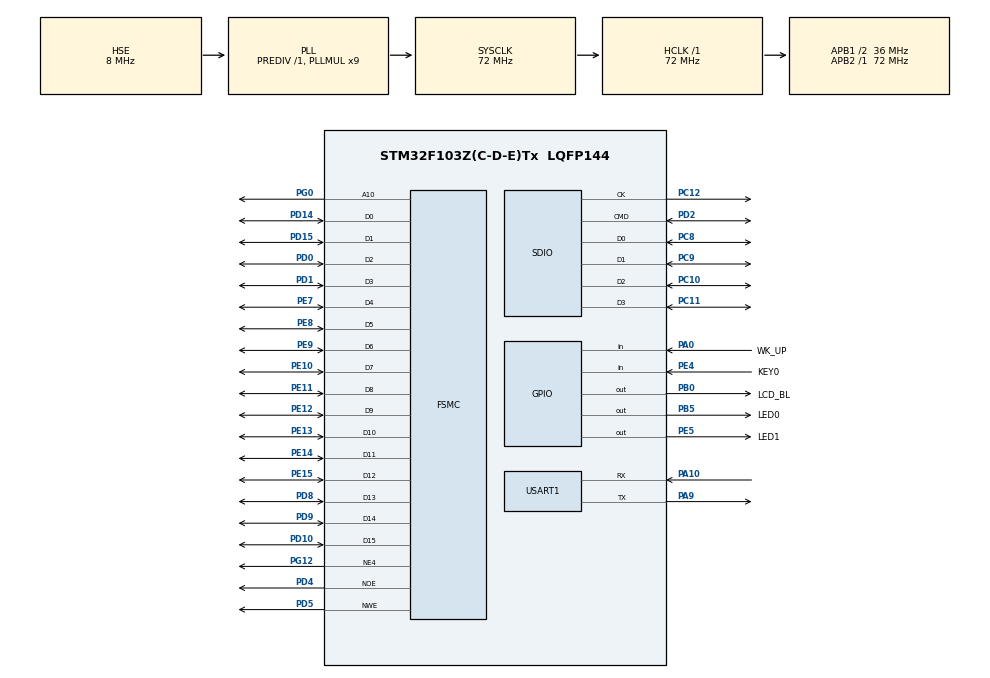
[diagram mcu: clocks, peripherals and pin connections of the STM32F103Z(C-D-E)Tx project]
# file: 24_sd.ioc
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FSMC.AddressSetupTime1=0
FSMC.DataSetupTime1=15
FSMC.ExtendedAddressSetupTime1=0
FSMC.ExtendedDataSetupTime1=1
FSMC.ExtendedMode1=FSMC_EXTENDED_MODE_ENABLE
Mcu.Family=STM32F1
Mcu.Name=STM32F103Z(C-D-E)Tx
Mcu.Package=LQFP144
NVIC.PriorityGroup=NVIC_PRIORITYGROUP_2
NVIC.USART1_IRQn=true\:2\:2\:true\:false\:true\:true\:true\:true
OSC_IN.Mode=HSE-External-Oscillator
OSC_IN.Signal=RCC_OSC_IN
OSC_OUT.Mode=HSE-External-Oscillator
OSC_OUT.Signal=RCC_OSC_OUT
PA0-WKUP.GPIO_Label=WK_UP
PA0-WKUP.GPIO_PuPd=GPIO_PULLDOWN
PA0-WKUP.Signal=GPIO_Input
PA10.Mode=Asynchronous
PA10.Signal=USART1_RX
PA13.Mode=Serial_Wire
PA13.Signal=SYS_JTMS-SWDIO
PA14.Mode=Serial_Wire
PA14.Signal=SYS_JTCK-SWCLK
PA9.Mode=Asynchronous
PA9.Signal=USART1_TX
PB0.GPIO_Label=LCD_BL
PB0.GPIO_PuPd=GPIO_PULLUP
PB0.GPIO_Speed=GPIO_SPEED_FREQ_HIGH
PB0.PinState=GPIO_PIN_SET
PB0.Signal=GPIO_Output
PB5.GPIO_Label=LED0
PB5.GPIO_PuPd=GPIO_PULLDOWN
PB5.GPIO_Speed=GPIO_SPEED_FREQ_HIGH
PB5.PinState=GPIO_PIN_SET
PB5.Signal=GPIO_Output
PC10.Mode=SD_4_bits_Wide_bus
PC10.Signal=SDIO_D2
PC11.Mode=SD_4_bits_Wide_bus
PC11.Signal=SDIO_D3
PC12.Mode=SD_4_bits_Wide_bus
PC12.Signal=SDIO_CK
PC14-OSC32_IN.Mode=LSE-External-Oscillator
PC14-OSC32_IN.Signal=RCC_OSC32_IN
PC15-OSC32_OUT.Mode=LSE-External-Oscillator
PC15-OSC32_OUT.Signal=RCC_OSC32_OUT
PC8.Mode=SD_4_bits_Wide_bus
PC8.Signal=SDIO_D0
PC9.Mode=SD_4_bits_Wide_bus
PC9.Signal=SDIO_D1
PD0.Signal=FSMC_D2_DA2
PD1.Signal=FSMC_D3_DA3
PD10.Signal=FSMC_D15_DA15
PD14.Signal=FSMC_D0_DA0
PD15.Signal=FSMC_D1_DA1
PD2.Mode=SD_4_bits_Wide_bus
PD2.Signal=SDIO_CMD
PD4.Signal=FSMC_NOE
PD5.Signal=FSMC_NWE
PD8.Signal=FSMC_D13_DA13
PD9.Signal=FSMC_D14_DA14
PE10.Signal=FSMC_D7_DA7
PE11.Signal=FSMC_D8_DA8
PE12.Signal=FSMC_D9_DA9
PE13.Signal=FSMC_D10_DA10
PE14.Signal=FSMC_D11_DA11
PE15.Signal=FSMC_D12_DA12
PE4.GPIO_Label=KEY0
PE4.GPIO_PuPd=GPIO_PULLDOWN
PE4.Signal=GPIO_Input
PE5.GPIO_Label=LED1
PE5.GPIO_PuPd=GPIO_PULLDOWN
PE5.GPIO_Speed=GPIO_SPEED_FREQ_HIGH
PE5.PinState=GPIO_PIN_SET
PE5.Signal=GPIO_Output
PE7.Signal=FSMC_D4_DA4
PE8.Signal=FSMC_D5_DA5
PE9.Signal=FSMC_D6_DA6
PG0.Signal=FSMC_A10
PG12.Mode=NorPsramChipSelect4_1
PG12.Signal=FSMC_NE4
ProjectManager.HeapSize=0x200
ProjectManager.StackSize=0x400
ProjectManager.TargetToolchain=STM32CubeIDE
RCC.AHBFreq_Value=72000000
RCC.APB1CLKDivider=RCC_HCLK_DIV2
RCC.APB1Freq_Value=36000000
RCC.APB1TimFreq_Value=72000000
RCC.APB2Freq_Value=72000000
RCC.APB2TimFreq_Value=72000000
RCC.HCLKFreq_Value=72000000
RCC.PLLMUL=RCC_PLL_MUL9
RCC.PLLSourceVirtual=RCC_PLLSOURCE_HSE
RCC.SYSCLKFreq_VALUE=72000000
RCC.SYSCLKSource=RCC_SYSCLKSOURCE_PLLCLK
RCC.USBFreq_Value=72000000
SDIO.ClockDiv=0x06
SDIO.HardwareFlowControl=SDIO_HARDWARE_FLOW_CONTROL_ENABLE
SH.FSMC_A10.0=FSMC_A10,A10_1
SH.FSMC_D0_DA0.0=FSMC_D0,16b-d1
SH.FSMC_D10_DA10.0=FSMC_D10,16b-d1
SH.FSMC_D11_DA11.0=FSMC_D11,16b-d1
SH.FSMC_D12_DA12.0=FSMC_D12,16b-d1
SH.FSMC_D13_DA13.0=FSMC_D13,16b-d1
SH.FSMC_D14_DA14.0=FSMC_D14,16b-d1
SH.FSMC_D15_DA15.0=FSMC_D15,16b-d1
SH.FSMC_D1_DA1.0=FSMC_D1,16b-d1
SH.FSMC_D2_DA2.0=FSMC_D2,16b-d1
SH.FSMC_D3_DA3.0=FSMC_D3,16b-d1
SH.FSMC_D4_DA4.0=FSMC_D4,16b-d1
SH.FSMC_D5_DA5.0=FSMC_D5,16b-d1
SH.FSMC_D6_DA6.0=FSMC_D6,16b-d1
SH.FSMC_D7_DA7.0=FSMC_D7,16b-d1
SH.FSMC_D8_DA8.0=FSMC_D8,16b-d1
SH.FSMC_D9_DA9.0=FSMC_D9,16b-d1
SH.FSMC_NOE.0=FSMC_NOE,Lcd1
SH.FSMC_NWE.0=FSMC_NWE,Lcd1
USART1.VirtualMode=VM_ASYNC
board=custom

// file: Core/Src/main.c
/* USER CODE BEGIN Header */
/**
 ****************************************************************************************************
 * @file        main.c
 * @author      ALIENTEK
 * @brief       sd code
 * @license     Copyright (C) 2012-2024, ALIENTEK
 ****************************************************************************************************
 * @attention
 *
 * platform     : ALIENTEK M144-STM32F103 board
 * website      : www.alientek.com
 * forum        : www.openedv.com/forum.php
 *
 * change logs  :
 * version      data         notes
 * V1.0         20240410     the first version
 *
 ****************************************************************************************************
 */
/* USER CODE END Header */
#include "main.h"
#include "sdio.h"
#include "usart.h"
#include "gpio.h"
#include "fsmc.h"

/* USER CODE BEGIN Includes */
#include "../../BSP/LED/led.h"
#include "../../BSP/KEY/key.h"
#include "../../BSP/LCD/lcd.h"
#include "../../ATK_Middlewares/MALLOC/malloc.h"
/* USER CODE END Includes */

/* USER CODE BEGIN PTD */

extern uint8_t g_sd_error;
extern HAL_SD_CardInfoTypeDef g_sd_card_info;

/* USER CODE END PTD */

/* USER CODE BEGIN PD */

/**
 * @brief   displays SD card information
 * @param   None
 * @retval  None
 */
static void show_sd_info(void)
{
    HAL_SD_CardCIDTypeDef sd_card_cid = {0};

    HAL_SD_GetCardCID(&hsd, &sd_card_cid);

    printf("Card Type: %s\r\n", (g_sd_card_info.CardType == CARD_SDSC) ? ((g_sd_card_info.CardVersion == CARD_V1_X) ? ("SDSC V1") :
                                                                         ((g_sd_card_info.CardVersion == CARD_V1_X) ? ("SDSC V2") :
                                                                         (""))) :
                                ((g_sd_card_info.CardType == CARD_SDHC_SDXC) ? ("SDHC") :
                                ((g_sd_card_info.CardType == CARD_SECURED) ? ("SECURE") :
                                (""))));
    printf("Card ManufacturerID:%d\r\n", sd_card_cid.ManufacturerID);
    printf("Card RCA:%d\r\n", g_sd_card_info.RelCardAdd);
    printf("LogBlockNbr:%d \r\n", g_sd_card_info.LogBlockNbr);
    printf("LogBlockSize:%d \r\n", g_sd_card_info.LogBlockSize);
    printf("Card Capacity:%d MB\r\n", (uint32_t)(((uint64_t)g_sd_card_info.LogBlockNbr * g_sd_card_info.LogBlockSize) >> 20));
    printf("Card BlockSize:%d\r\n\r\n", g_sd_card_info.BlockSize);

    lcd_show_string(30, 146, 200, 16, 16, "SD Card Size:     MB", BLUE);
    lcd_show_num(30 + 13 * 8, 146, (uint32_t)(((uint64_t)g_sd_card_info.LogBlockNbr * g_sd_card_info.LogBlockSize) >> 20), 5, 16, BLUE);
}

static void sd_read_test(void)
{
    uint8_t *buf;
    uint16_t index;

    buf = (uint8_t *)mymalloc(SRAMIN, g_sd_card_info.BlockSize);
    if (buf == NULL)
    {
        return;
    }

    /* Read and print the data of block 0 of the SD card */
    if (sd_read_disk(buf, 0, 1) == 0)
    {
        lcd_show_string(30, 170, 200, 16, 16, "USART1 Sending Data...", BLUE);
        printf("Block 0 Data:\r\n");
        for (index=0; index<g_sd_card_info.BlockSize; index++)
        {
            printf("%02X ", buf[index]);
        }
        printf("\r\nData End\r\n");
        lcd_show_string(30, 170, 200, 16, 16, "USART1 Send Data Over!", BLUE);
    }
    else
    {
        printf("SD read Failure!\r\n");
        lcd_show_string(30, 170, 200, 16, 16, "SD read Failure!      ", BLUE);
    }

    myfree(SRAMIN, buf);
}

/* USER CODE END PD */

void SystemClock_Config(void);

int main(void)
{
  /* USER CODE BEGIN 1 */
  uint8_t t = 0;
  uint8_t key;
  /* USER CODE END 1 */

  /* MCU Configuration--------------------------------------------------------*/

  /* Reset of all peripherals, Initializes the Flash interface and the Systick. */
  HAL_Init();

  /* Configure the system clock */
  SystemClock_Config();

  /* Initialize all configured peripherals */
  MX_GPIO_Init();
  MX_USART1_UART_Init();
  MX_FSMC_Init();
  MX_SDIO_SD_Init();
  /* USER CODE BEGIN 2 */

  lcd_init();
  my_mem_init(SRAMIN);                /* Initialize the internal SRAM memory pool */
  lcd_show_string(30, 50, 200, 16, 16, "STM32", RED);
  lcd_show_string(30, 70, 200, 16, 16, "SD TEST", RED);
  lcd_show_string(30, 90, 200, 16, 16, "ATOM@ALIENTEK", RED);

  lcd_show_string(30, 110, 200, 16, 16, "WKUP: Read Block 0", RED);

  while (sd_init() != 0)
  {
      lcd_show_string(30, 130, 200, 16, 16, "SD Card Error!", RED);
      delay_ms(500);
      lcd_show_string(30, 130, 200, 16, 16, "Please Check! ", RED);
      delay_ms(500);
      LED0_TOGGLE();
  }

  lcd_show_string(30, 130, 200, 16, 16, "SD Card OK    ", BLUE);

  show_sd_info();

  /* USER CODE END 2 */

  /* Infinite loop */
  while (1)
  {

	  key = key_scan(0);
	  if (key == WKUP_PRES)
	  {
	      /* SD card read test */
	      sd_read_test();
	  }

	  if (++t == 20)
	  {
	      t = 0;
	      LED0_TOGGLE();/* flashing LED0 indicates that the system is running */
	  }

	HAL_Delay(10);       /* delay 10ms */

  }
}

void SystemClock_Config(void)
{
  RCC_OscInitTypeDef RCC_OscInitStruct = {0};
  RCC_ClkInitTypeDef RCC_ClkInitStruct = {0};

  /** Initializes the RCC Oscillators according to the specified parameters
  * in the RCC_OscInitTypeDef structure.
  */
  RCC_OscInitStruct.OscillatorType = RCC_OSCILLATORTYPE_HSE;
  RCC_OscInitStruct.HSEState = RCC_HSE_ON;
  RCC_OscInitStruct.HSEPredivValue = RCC_HSE_PREDIV_DIV1;
  RCC_OscInitStruct.HSIState = RCC_HSI_ON;
  RCC_OscInitStruct.PLL.PLLState = RCC_PLL_ON;
  RCC_OscInitStruct.PLL.PLLSource = RCC_PLLSOURCE_HSE;
  RCC_OscInitStruct.PLL.PLLMUL = RCC_PLL_MUL9;
  if (HAL_RCC_OscConfig(&RCC_OscInitStruct) != HAL_OK)
  {
    Error_Handler();
  }

  /** Initializes the CPU, AHB and APB buses clocks
  */
  RCC_ClkInitStruct.ClockType = RCC_CLOCKTYPE_HCLK|RCC_CLOCKTYPE_SYSCLK
                              |RCC_CLOCKTYPE_PCLK1|RCC_CLOCKTYPE_PCLK2;
  RCC_ClkInitStruct.SYSCLKSource = RCC_SYSCLKSOURCE_PLLCLK;
  RCC_ClkInitStruct.AHBCLKDivider = RCC_SYSCLK_DIV1;
  RCC_ClkInitStruct.APB1CLKDivider = RCC_HCLK_DIV2;
  RCC_ClkInitStruct.APB2CLKDivider = RCC_HCLK_DIV1;

  if (HAL_RCC_ClockConfig(&RCC_ClkInitStruct, FLASH_LATENCY_2) != HAL_OK)
  {
    Error_Handler();
  }
}

void Error_Handler(void)
{
  __disable_irq();
  while (1)
  {
  }
}
